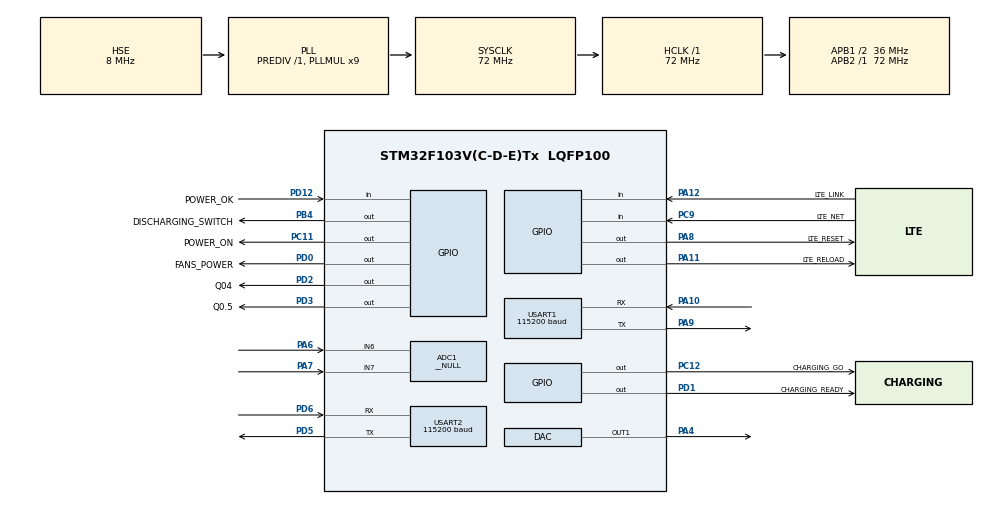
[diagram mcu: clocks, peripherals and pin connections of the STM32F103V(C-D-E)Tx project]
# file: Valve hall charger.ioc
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ADC1.Channel-0\#ChannelRegularConversion=ADC_CHANNEL_6
ADC1.Channel-1\#ChannelRegularConversion=ADC_CHANNEL_7
ADC1.Channel-IN6=ADC_CHANNEL_6
ADC1.Channel-IN7=ADC_CHANNEL_7
ADC1.ContinuousConvMode=ENABLE
ADC1.DataAlign=ADC_DATAALIGN_RIGHT
ADC1.DiscontinuousConvMode=DISABLE
ADC1.EnableAnalogWatchDog=false
ADC1.EnableInjectedConversion=DISABLE
ADC1.EnableRegularConversion=ENABLE
ADC1.ExternalTrigConv=ADC_SOFTWARE_START
ADC1.Mode=__NULL
ADC1.NbrOfConversion=2
ADC1.Rank-0\#ChannelRegularConversion=1
ADC1.Rank-1\#ChannelRegularConversion=2
ADC1.SamplingTime-0\#ChannelRegularConversion=ADC_SAMPLETIME_41CYCLES_5
ADC1.SamplingTime-1\#ChannelRegularConversion=ADC_SAMPLETIME_55CYCLES_5
ADC1.ScanConvMode=ADC_SCAN_ENABLE
ADC1.master=1
DAC.DAC_OutputBuffer-DAC_OUT1=DAC_OUTPUTBUFFER_ENABLE
DAC.DAC_Trigger-DAC_OUT1=DAC_TRIGGER_NONE
Dma.ADC1.4.Direction=DMA_PERIPH_TO_MEMORY
Dma.ADC1.4.Instance=DMA1_Channel1
Dma.ADC1.4.MemDataAlignment=DMA_MDATAALIGN_WORD
Dma.ADC1.4.MemInc=DMA_MINC_ENABLE
Dma.ADC1.4.Mode=DMA_CIRCULAR
Dma.ADC1.4.PeriphDataAlignment=DMA_PDATAALIGN_WORD
Dma.ADC1.4.PeriphInc=DMA_PINC_DISABLE
Dma.ADC1.4.Priority=DMA_PRIORITY_VERY_HIGH
Dma.Request0=USART1_RX
Dma.Request1=USART1_TX
Dma.Request2=USART2_TX
Dma.Request3=USART2_RX
Dma.Request4=ADC1
Dma.USART1_RX.0.Direction=DMA_PERIPH_TO_MEMORY
Dma.USART1_RX.0.Instance=DMA1_Channel5
Dma.USART1_RX.0.MemDataAlignment=DMA_MDATAALIGN_BYTE
Dma.USART1_RX.0.MemInc=DMA_MINC_ENABLE
Dma.USART1_RX.0.Mode=DMA_NORMAL
Dma.USART1_RX.0.PeriphDataAlignment=DMA_PDATAALIGN_BYTE
Dma.USART1_RX.0.PeriphInc=DMA_PINC_DISABLE
Dma.USART1_RX.0.Priority=DMA_PRIORITY_MEDIUM
Dma.USART1_TX.1.Direction=DMA_MEMORY_TO_PERIPH
Dma.USART1_TX.1.Instance=DMA1_Channel4
Dma.USART1_TX.1.MemDataAlignment=DMA_MDATAALIGN_BYTE
Dma.USART1_TX.1.MemInc=DMA_MINC_ENABLE
Dma.USART1_TX.1.Mode=DMA_NORMAL
Dma.USART1_TX.1.PeriphDataAlignment=DMA_PDATAALIGN_BYTE
Dma.USART1_TX.1.PeriphInc=DMA_PINC_DISABLE
Dma.USART1_TX.1.Priority=DMA_PRIORITY_LOW
Dma.USART2_RX.3.Direction=DMA_PERIPH_TO_MEMORY
Dma.USART2_RX.3.Instance=DMA1_Channel6
Dma.USART2_RX.3.MemDataAlignment=DMA_MDATAALIGN_BYTE
Dma.USART2_RX.3.MemInc=DMA_MINC_ENABLE
Dma.USART2_RX.3.Mode=DMA_NORMAL
Dma.USART2_RX.3.PeriphDataAlignment=DMA_PDATAALIGN_BYTE
Dma.USART2_RX.3.PeriphInc=DMA_PINC_DISABLE
Dma.USART2_RX.3.Priority=DMA_PRIORITY_HIGH
Dma.USART2_TX.2.Direction=DMA_MEMORY_TO_PERIPH
Dma.USART2_TX.2.Instance=DMA1_Channel7
Dma.USART2_TX.2.MemDataAlignment=DMA_MDATAALIGN_BYTE
Dma.USART2_TX.2.MemInc=DMA_MINC_ENABLE
Dma.USART2_TX.2.Mode=DMA_NORMAL
Dma.USART2_TX.2.PeriphDataAlignment=DMA_PDATAALIGN_BYTE
Dma.USART2_TX.2.PeriphInc=DMA_PINC_DISABLE
Dma.USART2_TX.2.Priority=DMA_PRIORITY_HIGH
FREERTOS.BinarySemaphores01=LTE_Recive,Dynamic,NULL;Dwin_Recive,Dynamic,NULL
FREERTOS.HEAP_NUMBER=4
FREERTOS.INCLUDE_eTaskGetState=0
FREERTOS.INCLUDE_pcTaskGetTaskName=0
FREERTOS.INCLUDE_uxTaskGetStackHighWaterMark=0
FREERTOS.INCLUDE_uxTaskPriorityGet=1
FREERTOS.INCLUDE_vTaskCleanUpResources=0
FREERTOS.INCLUDE_vTaskDelay=1
FREERTOS.INCLUDE_vTaskDelayUntil=0
FREERTOS.INCLUDE_vTaskDelete=1
FREERTOS.INCLUDE_vTaskPrioritySet=1
FREERTOS.INCLUDE_vTaskSuspend=1
FREERTOS.INCLUDE_xEventGroupSetBitFromISR=0
FREERTOS.INCLUDE_xQueueGetMutexHolder=0
FREERTOS.INCLUDE_xSemaphoreGetMutexHolder=0
FREERTOS.INCLUDE_xTaskAbortDelay=0
FREERTOS.INCLUDE_xTaskGetCurrentTaskHandle=0
FREERTOS.INCLUDE_xTaskGetHandle=0
FREERTOS.INCLUDE_xTaskGetSchedulerState=1
FREERTOS.INCLUDE_xTaskResumeFromISR=1
FREERTOS.INCLUDE_xTimerPendFunctionCall=0
FREERTOS.MEMORY_ALLOCATION=2
FREERTOS.Mutexes01=shellMutex,Dynamic,NULL
FREERTOS.Tasks01=Sampling,0,256,Sampling_Task,Default,&g_PresentBatteryInfo,Dynamic,NULL,NULL;Charger,1,512,Charger_Task,Default,&g_PresentBatteryInfo,Dynamic,NULL,NULL;Report,-2,256,Report_Task,Default,&g_PresentBatteryInfo,Dynamic,NULL,NULL;Update,2,256,Update_Task,Default,NULL,Dynamic,NULL,NULL;IWDG,3,256,Iwdg_Task,Default,NULL,Dynamic,NULL,NULL;Dwin,0,256,Dwin_Task,Default,NULL,Dynamic,NULL,NULL
FREERTOS.Timers01=UserTimer,User_Timer_Callback,osTimerPeriodic,Default,NULL,Dynamic,NULL;ChargerTime,ChargerTime_Callback,osTimerPeriodic,Default,NULL,Dynamic,NULL
FREERTOS.configCHECK_FOR_STACK_OVERFLOW=0
FREERTOS.configENABLE_BACKWARD_COMPATIBILITY=1
FREERTOS.configGENERATE_RUN_TIME_STATS=0
FREERTOS.configIDLE_SHOULD_YIELD=1
FREERTOS.configLIBRARY_LOWEST_INTERRUPT_PRIORITY=15
FREERTOS.configLIBRARY_MAX_SYSCALL_INTERRUPT_PRIORITY=5
FREERTOS.configMAX_CO_ROUTINE_PRIORITIES=2
FREERTOS.configMAX_PRIORITIES=7
FREERTOS.configMAX_TASK_NAME_LEN=16
FREERTOS.configMINIMAL_STACK_SIZE=256
FREERTOS.configQUEUE_REGISTRY_SIZE=8
FREERTOS.configRECORD_STACK_HIGH_ADDRESS=0
FREERTOS.configTICK_RATE_HZ=1000
FREERTOS.configTIMER_QUEUE_LENGTH=10
FREERTOS.configTIMER_TASK_PRIORITY=2
FREERTOS.configTIMER_TASK_STACK_DEPTH=256
FREERTOS.configTOTAL_HEAP_SIZE=30720
FREERTOS.configUSE_APPLICATION_TASK_TAG=0
FREERTOS.configUSE_COUNTING_SEMAPHORES=0
FREERTOS.configUSE_CO_ROUTINES=0
FREERTOS.configUSE_DAEMON_TASK_STARTUP_HOOK=0
FREERTOS.configUSE_IDLE_HOOK=0
FREERTOS.configUSE_MALLOC_FAILED_HOOK=0
FREERTOS.configUSE_MUTEXES=1
FREERTOS.configUSE_NEWLIB_REENTRANT=0
FREERTOS.configUSE_PREEMPTION=1
FREERTOS.configUSE_RECURSIVE_MUTEXES=0
FREERTOS.configUSE_STATS_FORMATTING_FUNCTIONS=0
FREERTOS.configUSE_TASK_NOTIFICATIONS=1
FREERTOS.configUSE_TICKLESS_IDLE=0
FREERTOS.configUSE_TICK_HOOK=0
FREERTOS.configUSE_TIMERS=1
FREERTOS.configUSE_TRACE_FACILITY=0
FREERTOS.copyHeapFile=1
IWDG.Prescaler=IWDG_PRESCALER_256
IWDG.Reload=256
Mcu.Family=STM32F1
Mcu.Name=STM32F103V(C-D-E)Tx
Mcu.Package=LQFP100
NVIC.DMA1_Channel1_IRQn=true\:5\:0\:true\:false\:true\:true\:false\:true\:true
NVIC.DMA1_Channel4_IRQn=true\:5\:0\:true\:false\:true\:true\:false\:true\:true
NVIC.DMA1_Channel5_IRQn=true\:5\:0\:true\:false\:true\:true\:false\:true\:true
NVIC.DMA1_Channel6_IRQn=true\:5\:0\:true\:false\:true\:true\:false\:true\:true
NVIC.DMA1_Channel7_IRQn=true\:5\:0\:true\:false\:true\:true\:false\:true\:true
NVIC.PriorityGroup=NVIC_PRIORITYGROUP_4
NVIC.TIM1_UP_IRQn=true\:15\:0\:false\:false\:true\:false\:true\:true\:true
NVIC.TimeBase=TIM1_UP_IRQn
NVIC.TimeBaseIP=TIM1
NVIC.USART1_IRQn=true\:5\:0\:true\:false\:true\:true\:true\:true\:true
NVIC.USART2_IRQn=true\:5\:0\:true\:false\:true\:true\:true\:true\:true
OSC_IN.Mode=HSE-External-Oscillator
OSC_IN.Signal=RCC_OSC_IN
OSC_OUT.Mode=HSE-External-Oscillator
OSC_OUT.Signal=RCC_OSC_OUT
PA10.Mode=Asynchronous
PA10.Signal=USART1_RX
PA11.GPIO_Label=LTE_RELOAD
PA11.GPIO_PuPd=GPIO_PULLUP
PA11.PinState=GPIO_PIN_SET
PA11.Signal=GPIO_Output
PA12.GPIO_Label=LTE_LINK
PA12.Signal=GPIO_Input
PA13.Mode=Serial_Wire
PA13.Signal=SYS_JTMS-SWDIO
PA14.Mode=Serial_Wire
PA14.Signal=SYS_JTCK-SWCLK
PA4.Signal=COMP_DAC1_group
PA6.Signal=ADCx_IN6
PA7.Signal=ADCx_IN7
PA8.GPIO_Label=LTE_RESET
PA8.GPIO_PuPd=GPIO_PULLUP
PA8.PinState=GPIO_PIN_SET
PA8.Signal=GPIO_Output
PA9.Mode=Asynchronous
PA9.Signal=USART1_TX
PB4.GPIO_Label=DISCHARGING_SWITCH
PB4.Signal=GPIO_Output
PC11.GPIO_Label=POWER_ON
PC11.Signal=GPIO_Output
PC12.GPIO_Label=CHARGING_GO
PC12.Signal=GPIO_Output
PC14-OSC32_IN.Mode=LSE-External-Oscillator
PC14-OSC32_IN.Signal=RCC_OSC32_IN
PC15-OSC32_OUT.Mode=LSE-External-Oscillator
PC15-OSC32_OUT.Signal=RCC_OSC32_OUT
PC9.GPIO_Label=LTE_NET
PC9.Signal=GPIO_Input
PD0.GPIO_Label=FANS_POWER
PD0.Signal=GPIO_Output
PD1.GPIO_Label=CHARGING_READY
PD1.GPIO_Speed=GPIO_SPEED_FREQ_HIGH
PD1.Signal=GPIO_Output
PD12.GPIO_Label=POWER_OK
PD12.Signal=GPIO_Input
PD2.GPIO_Label=Q04
PD2.Signal=GPIO_Output
PD3.GPIO_Label=Q0.5
PD3.Signal=GPIO_Output
PD5.Mode=Asynchronous
PD5.Signal=USART2_TX
PD6.Mode=Asynchronous
PD6.Signal=USART2_RX
ProjectManager.HeapSize=0x100
ProjectManager.StackSize=0x2000
ProjectManager.TargetToolchain=MDK-ARM V5.27
RCC.ADCPresc=RCC_ADCPCLK2_DIV6
RCC.AHBFreq_Value=72000000
RCC.APB1CLKDivider=RCC_HCLK_DIV2
RCC.APB1Freq_Value=36000000
RCC.APB1TimFreq_Value=72000000
RCC.APB2Freq_Value=72000000
RCC.APB2TimFreq_Value=72000000
RCC.FLatency=FLASH_LATENCY_2
RCC.HCLKFreq_Value=72000000
RCC.PLLMUL=RCC_PLL_MUL9
RCC.PLLSourceVirtual=RCC_PLLSOURCE_HSE
RCC.RTCClockSelection=RCC_RTCCLKSOURCE_LSE
RCC.SYSCLKFreq_VALUE=72000000
RCC.SYSCLKSource=RCC_SYSCLKSOURCE_PLLCLK
RCC.USBFreq_Value=72000000
RTC.AsynchPrediv=32767
RTC.AutoPrediv=0
RTC.Date=23
RTC.Format=RTC_FORMAT_BIN
RTC.Hours=12
RTC.Minutes=30
RTC.Month=RTC_MONTH_JUNE
RTC.OutPut=RTC_OUTPUTSOURCE_ALARM
RTC.Seconds=0
RTC.WeekDay=RTC_WEEKDAY_MONDAY
RTC.Year=22
SH.ADCx_IN6.0=ADC1_IN6,IN6
SH.ADCx_IN7.0=ADC1_IN7,IN7
SH.COMP_DAC1_group.0=DAC_OUT1,DAC_OUT1
USART1.BaudRate=115200
USART1.Mode=MODE_TX_RX
USART1.Parity=PARITY_NONE
USART1.StopBits=STOPBITS_1
USART1.VirtualMode=VM_ASYNC
USART1.WordLength=WORDLENGTH_8B
USART2.BaudRate=115200
USART2.Mode=MODE_TX_RX
USART2.Parity=PARITY_NONE
USART2.StopBits=STOPBITS_1
USART2.VirtualMode=VM_ASYNC
USART2.WordLength=WORDLENGTH_8B
VP_FREERTOS_VS_CMSIS_V1.Mode=CMSIS_V1
VP_IWDG_VS_IWDG.Mode=IWDG_Activate
VP_RTC_VS_RTC_Activate.Mode=RTC_Enabled
VP_RTC_VS_RTC_Calendar.Mode=RTC_Calendar
VP_SYS_VS_tim1.Mode=TIM1
board=custom

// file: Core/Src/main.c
/* USER CODE BEGIN Header */
/**
 ******************************************************************************
 * @file           : main.c
 * @brief          : Main program body
 ******************************************************************************
 * @attention
 *
 * Copyright (c) 2022 STMicroelectronics.
 * All rights reserved.
 *
 * This software is licensed under terms that can be found in the LICENSE file
 * in the root directory of this software component.
 * If no LICENSE file comes with this software, it is provided AS-IS.
 *
 ******************************************************************************
 */
/* USER CODE END Header */
#include "main.h"
#include "cmsis_os.h"
#include "adc.h"
#include "dac.h"
#include "dma.h"
#include "iwdg.h"
#include "rtc.h"
#include "usart.h"
#include "gpio.h"

/* USER CODE BEGIN Includes */
#include "mdrtuslave.h"
#include "shell_port.h"
#include "Dwin.h"
#include "Flash.h"
/* USER CODE END Includes */

void SystemClock_Config(void);
void MX_FREERTOS_Init(void);

int main(void)
{

  /* MCU Configuration--------------------------------------------------------*/

  /* Reset of all peripherals, Initializes the Flash interface and the Systick. */
  HAL_Init();

  /* Configure the system clock */
  SystemClock_Config();

  /* Initialize all configured peripherals */
  MX_GPIO_Init();
  MX_DMA_Init();
  MX_DAC_Init();
  MX_USART1_UART_Init();
  MX_USART2_UART_Init();
  MX_RTC_Init();
  MX_ADC1_Init();
  // MX_IWDG_Init();
  /* USER CODE BEGIN 2 */
  /*Initialize flash*/
  FLASH_Init();
  /*Turn on DMA transmission of ADC*/
  HAL_ADC_Start_DMA(&hadc1, (uint32_t *)AdcDMA_buffer, ADC_NUMBERS);
  /*Turn on the DAC*/
  HAL_DAC_Start(&hdac, DAC_CHANNEL_1);
  MX_ModbusInit();
  if (Slave1_Object)
  {
    __HAL_UART_ENABLE_IT(&huart1, UART_IT_IDLE);
    /*DMA buffer must point to an entity address!!!*/
    HAL_UART_Receive_DMA(&huart1, mdRTU_Recive_Buf(Slave1_Object), MODBUS_PDU_SIZE_MAX);
  }
  __HAL_UART_ENABLE_IT(&huart2, UART_IT_IDLE);
  HAL_UART_Receive_DMA(&huart2, g_Dwin.RxBuf, RX_BUF_SIZE);
  /*Initialize the shell interface*/
  MX_ShellInit(Shell_Object);
  /* USER CODE END 2 */

  /* Call init function for freertos objects (in freertos.c) */
  MX_FREERTOS_Init();

  /* Start scheduler */
  osKernelStart();

  /* We should never get here as control is now taken by the scheduler */
  /* Infinite loop */
  while (1)
  {

  }
}

void SystemClock_Config(void)
{
  RCC_OscInitTypeDef RCC_OscInitStruct = {0};
  RCC_ClkInitTypeDef RCC_ClkInitStruct = {0};
  RCC_PeriphCLKInitTypeDef PeriphClkInit = {0};

  /** Initializes the RCC Oscillators according to the specified parameters
   * in the RCC_OscInitTypeDef structure.
   */
  RCC_OscInitStruct.OscillatorType = RCC_OSCILLATORTYPE_LSI | RCC_OSCILLATORTYPE_HSE | RCC_OSCILLATORTYPE_LSE;
  RCC_OscInitStruct.HSEState = RCC_HSE_ON;
  RCC_OscInitStruct.HSEPredivValue = RCC_HSE_PREDIV_DIV1;
  RCC_OscInitStruct.LSEState = RCC_LSE_ON;
  RCC_OscInitStruct.HSIState = RCC_HSI_ON;
  RCC_OscInitStruct.LSIState = RCC_LSI_ON;
  RCC_OscInitStruct.PLL.PLLState = RCC_PLL_ON;
  RCC_OscInitStruct.PLL.PLLSource = RCC_PLLSOURCE_HSE;
  RCC_OscInitStruct.PLL.PLLMUL = RCC_PLL_MUL9;
  if (HAL_RCC_OscConfig(&RCC_OscInitStruct) != HAL_OK)
  {
    Error_Handler();
  }

  /** Initializes the CPU, AHB and APB buses clocks
   */
  RCC_ClkInitStruct.ClockType = RCC_CLOCKTYPE_HCLK | RCC_CLOCKTYPE_SYSCLK | RCC_CLOCKTYPE_PCLK1 | RCC_CLOCKTYPE_PCLK2;
  RCC_ClkInitStruct.SYSCLKSource = RCC_SYSCLKSOURCE_PLLCLK;
  RCC_ClkInitStruct.AHBCLKDivider = RCC_SYSCLK_DIV1;
  RCC_ClkInitStruct.APB1CLKDivider = RCC_HCLK_DIV2;
  RCC_ClkInitStruct.APB2CLKDivider = RCC_HCLK_DIV1;

  if (HAL_RCC_ClockConfig(&RCC_ClkInitStruct, FLASH_LATENCY_2) != HAL_OK)
  {
    Error_Handler();
  }
  PeriphClkInit.PeriphClockSelection = RCC_PERIPHCLK_RTC | RCC_PERIPHCLK_ADC;
  PeriphClkInit.RTCClockSelection = RCC_RTCCLKSOURCE_LSE;
  PeriphClkInit.AdcClockSelection = RCC_ADCPCLK2_DIV6;
  if (HAL_RCCEx_PeriphCLKConfig(&PeriphClkInit) != HAL_OK)
  {
    Error_Handler();
  }
}

void HAL_TIM_PeriodElapsedCallback(TIM_HandleTypeDef *htim)
{
  if (htim->Instance == TIM1)
  {
    HAL_IncTick();
  }
}

void Error_Handler(void)
{
  __disable_irq();
  while (1)
  {
  }
}

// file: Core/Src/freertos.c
/* USER CODE BEGIN Header */
/**
 ******************************************************************************
 * File Name          : freertos.c
 * Description        : Code for freertos applications
 ******************************************************************************
 * @attention
 *
 * Copyright (c) 2022 STMicroelectronics.
 * All rights reserved.
 *
 * This software is licensed under terms that can be found in the LICENSE file
 * in the root directory of this software component.
 * If no LICENSE file comes with this software, it is provided AS-IS.
 *
 ******************************************************************************
 */
/* USER CODE END Header */

#include "FreeRTOS.h"
#include "task.h"
#include "main.h"
#include "cmsis_os.h"

/* USER CODE BEGIN Includes */
#include "dac.h"
#include "iwdg.h"
#include "Flash.h"
#include "Dwin.h"
#include "mdrtuslave.h"
#include "ChargingHandle.h"
/* USER CODE END Includes */

/* USER CODE BEGIN PTD */
/**
 * @brief	Determine how the 4G module works
 * @details
 * @param	handler:modbus master/slave handle
 * @retval	true：MODBUS;fasle:shell
 */
bool Check_Mode(ModbusRTUSlaveHandler handler)
{
  ReceiveBufferHandle pB = handler->receiveBuffer;

  return ((pB->count == 1U) && (pB->buf[0] == ENTER_CODE));
}
/* USER CODE END PTD */

osThreadId SamplingHandle;
osThreadId ChargerHandle;
osThreadId ReportHandle;
osThreadId UpdateHandle;
osThreadId IWDGHandle;
osThreadId DwinHandle;
osTimerId UserTimerHandle;
osTimerId ChargerTimeHandle;
osMutexId shellMutexHandle;
osSemaphoreId LTE_ReciveHandle;
osSemaphoreId Dwin_ReciveHandle;

void Sampling_Task(void const *argument);
void Charger_Task(void const *argument);
void Report_Task(void const *argument);
void Update_Task(void const *argument);
void Iwdg_Task(void const *argument);
void Dwin_Task(void const *argument);
void User_Timer_Callback(void const *argument);
void ChargerTime_Callback(void const *argument);

void MX_FREERTOS_Init(void); /* (MISRA C 2004 rule 8.1) */

/* GetIdleTaskMemory prototype (linked to static allocation support) */
void vApplicationGetIdleTaskMemory(StaticTask_t **ppxIdleTaskTCBBuffer, StackType_t **ppxIdleTaskStackBuffer, uint32_t *pulIdleTaskStackSize);

/* GetTimerTaskMemory prototype (linked to static allocation support) */
void vApplicationGetTimerTaskMemory(StaticTask_t **ppxTimerTaskTCBBuffer, StackType_t **ppxTimerTaskStackBuffer, uint32_t *pulTimerTaskStackSize);

/* USER CODE BEGIN GET_IDLE_TASK_MEMORY */
static StaticTask_t xIdleTaskTCBBuffer;
static StackType_t xIdleStack[configMINIMAL_STACK_SIZE];

void vApplicationGetIdleTaskMemory(StaticTask_t **ppxIdleTaskTCBBuffer, StackType_t **ppxIdleTaskStackBuffer, uint32_t *pulIdleTaskStackSize)
{
  *ppxIdleTaskTCBBuffer = &xIdleTaskTCBBuffer;
  *ppxIdleTaskStackBuffer = &xIdleStack[0];
  *pulIdleTaskStackSize = configMINIMAL_STACK_SIZE;
  /* place for user code */
}
/* USER CODE END GET_IDLE_TASK_MEMORY */

/* USER CODE BEGIN GET_TIMER_TASK_MEMORY */
static StaticTask_t xTimerTaskTCBBuffer;
static StackType_t xTimerStack[configTIMER_TASK_STACK_DEPTH];

void vApplicationGetTimerTaskMemory(StaticTask_t **ppxTimerTaskTCBBuffer, StackType_t **ppxTimerTaskStackBuffer, uint32_t *pulTimerTaskStackSize)
{
  *ppxTimerTaskTCBBuffer = &xTimerTaskTCBBuffer;
  *ppxTimerTaskStackBuffer = &xTimerStack[0];
  *pulTimerTaskStackSize = configTIMER_TASK_STACK_DEPTH;
  /* place for user code */
}
/* USER CODE END GET_TIMER_TASK_MEMORY */

void MX_FREERTOS_Init(void)
{
  /* Create the mutex(es) */
  /* definition and creation of shellMutex */
  osMutexDef(shellMutex);
  shellMutexHandle = osMutexCreate(osMutex(shellMutex));

  /* Create the semaphores(s) */
  /* definition and creation of LTE_Recive */
  osSemaphoreDef(LTE_Recive);
  LTE_ReciveHandle = osSemaphoreCreate(osSemaphore(LTE_Recive), 1);

  /* definition and creation of Dwin_Recive */
  osSemaphoreDef(Dwin_Recive);
  Dwin_ReciveHandle = osSemaphoreCreate(osSemaphore(Dwin_Recive), 1);

  /* Create the timer(s) */
  /* definition and creation of UserTimer */
  osTimerDef(UserTimer, User_Timer_Callback);
  UserTimerHandle = osTimerCreate(osTimer(UserTimer), osTimerPeriodic, NULL);

  /* definition and creation of ChargerTime */
  osTimerDef(ChargerTime, ChargerTime_Callback);
  ChargerTimeHandle = osTimerCreate(osTimer(ChargerTime), osTimerPeriodic, NULL);

  /* USER CODE BEGIN RTOS_TIMERS */
  /* start timers, add new ones, ... */
  osTimerStart(UserTimerHandle, 1000);
  osTimerStart(ChargerTimeHandle, 1000);
  /* USER CODE END RTOS_TIMERS */

  /* Create the thread(s) */
  /* definition and creation of Sampling */
  osThreadDef(Sampling, Sampling_Task, osPriorityNormal, 0, 256);
  SamplingHandle = osThreadCreate(osThread(Sampling), &g_PresentBatteryInfo);

  /* definition and creation of Charger */
  osThreadDef(Charger, Charger_Task, osPriorityAboveNormal, 0, 512);
  ChargerHandle = osThreadCreate(osThread(Charger), &g_PresentBatteryInfo);

  /* definition and creation of Report */
  osThreadDef(Report, Report_Task, osPriorityLow, 0, 256);
  ReportHandle = osThreadCreate(osThread(Report), &g_PresentBatteryInfo);

  /* definition and creation of Update */
  osThreadDef(Update, Update_Task, osPriorityHigh, 0, 256);
  UpdateHandle = osThreadCreate(osThread(Update), NULL);

  /* definition and creation of IWDG */
  osThreadDef(IWDG, Iwdg_Task, osPriorityRealtime, 0, 256);
  IWDGHandle = osThreadCreate(osThread(IWDG), NULL);

  /* definition and creation of Dwin */
  osThreadDef(Dwin, Dwin_Task, osPriorityNormal, 0, 256);
  DwinHandle = osThreadCreate(osThread(Dwin), NULL);

}

void Sampling_Task(void const *argument)
{
  /* USER CODE BEGIN Sampling_Task */
  BatteryInfo *pb = (BatteryInfo *)argument;
  /* Infinite loop */
  for (;;)
  {
    if (pb)
      Sampling_handle(pb);
    osDelay(10);
  }
  /* USER CODE END Sampling_Task */
}

void Charger_Task(void const *argument)
{
  /* USER CODE BEGIN Charger_Task */
  BatteryInfo *pb = (BatteryInfo *)argument;
  /* Infinite loop */
  for (;;)
  {
#if (DEBUGGING == 1)
    User_Debug();
    osDelay(4000);
#else
    if (pb)
      Charger_Handle(pb);
    osDelay(CHARGING_CYCLE);
#endif
  }
  /* USER CODE END Charger_Task */
}

void Report_Task(void const *argument)
{
  /* USER CODE BEGIN Report_Task */
  BatteryInfo *pb = (BatteryInfo *)argument;
  /* Infinite loop */
  for (;;)
  {
    if (pb)
      Dwin_ReportHadle(pb);
    osDelay(1000);
  }
  /* USER CODE END Report_Task */
}

void Update_Task(void const *argument)
{
  /* USER CODE BEGIN Update_Task */
  /* Infinite loop */
  for (;;)
  {
    /*https://www.cnblogs.com/w-smile/p/11333950.html*/
    if ((osOK == osSemaphoreWait(LTE_ReciveHandle, osWaitForever)) && Slave1_Object)
    {
      if (Check_Mode(Slave1_Object))
      {
#if defined(USING_DEBUG)
        shellPrint(Shell_Object, "About to enter upgrade mode .......\r\n");
#endif
        /*Clear mcp4822 output*/
        /*Clear DAC output*/
        HAL_DAC_SetValue(&hdac, DAC_CHANNEL_1, DAC_ALIGN_12B_R, 0);
        /*Switch to the upgrade page*/

        uint32_t update_flag = (*(__IO uint32_t *)UPDATE_SAVE_ADDRESS);

        if (((update_flag & 0xFFFF0000) >> 16U) == UPDATE_APP1)
        {
          update_flag = (((uint32_t)UPDATE_APP2 << 16U) | UPDATE_CMD);
        }
        else
        {
          update_flag = (((uint32_t)UPDATE_APP1 << 16U) | UPDATE_CMD);
        }
        taskENTER_CRITICAL();
        FLASH_Write(UPDATE_SAVE_ADDRESS, (uint16_t *)&update_flag, sizeof(update_flag));
        taskEXIT_CRITICAL();
        NVIC_SystemReset();
      }
      else
      {
        // mdRTU_Handler();
        mdRTU_Handler(Slave1_Object);
      }
    }
  }
  /* USER CODE END Update_Task */
}

void Iwdg_Task(void const *argument)
{
  /* USER CODE BEGIN Iwdg_Task */
  taskENTER_CRITICAL();
  FlashReadInit();
  taskEXIT_CRITICAL();
  osDelay(3000);
  Report_BackChargingData();
  MX_IWDG_Init();
  /* Infinite loop */
  for (;;)
  {
    HAL_IWDG_Refresh(&hiwdg);
    Flash_Operation();
    Clear_UserInfo();
    osDelay(100);
  }
  /* USER CODE END Iwdg_Task */
}

void Dwin_Task(void const *argument)
{
  /* USER CODE BEGIN Dwin_Task */
  /* Infinite loop */
  for (;;)
  {
    /*https://www.cnblogs.com/w-smile/p/11333950.html*/
    if (osOK == osSemaphoreWait(Dwin_ReciveHandle, osWaitForever))
    {
      /*Screen data distribution detected, close reporting*/
      DWIN_Poll();
#if defined(USING_DEBUG)
      // shellPrint(Shell_Object, "Dwin data!\r\n");
      // shellPrint(Shell_Object, "rx_count = %d\r\n", Dwin_Object->Slave.RxCount);
#endif
    }
  }
  /* USER CODE END Dwin_Task */
}

/* User_Timer_Callback function */
void User_Timer_Callback(void const *argument)
{
  /* USER CODE BEGIN User_Timer_Callback */
#define SET_TIMER_FLAG(Timer)   \
  do                            \
  {                             \
    if (!(--Timer.Timer8Count)) \
      Timer.Timer8Flag = true;  \
  } while (0)
  SET_TIMER_FLAG(g_Timer1);
  /* USER CODE END User_Timer_Callback */
}

/* ChargerTime_Callback function */
void ChargerTime_Callback(void const *argument)
{
  /* USER CODE BEGIN ChargerTime_Callback */
  ChargeTimer(&g_PresentBatteryInfo);
  SET_TIMER_FLAG(g_Timer);
  /* USER CODE END ChargerTime_Callback */
}
